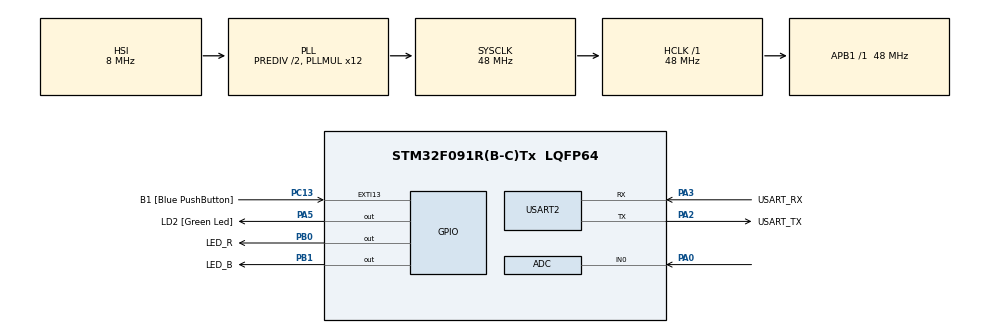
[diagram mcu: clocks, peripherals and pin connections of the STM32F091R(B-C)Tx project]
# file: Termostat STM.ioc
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Mcu.Family=STM32F0
Mcu.Name=STM32F091R(B-C)Tx
Mcu.Package=LQFP64
PA0.Mode=IN0
PA0.Signal=ADC_IN0
PA13.GPIO_Label=TMS
PA13.Mode=Serial_Wire
PA13.Signal=SYS_SWDIO
PA14.GPIO_Label=TCK
PA14.Mode=Serial_Wire
PA14.Signal=SYS_SWCLK
PA2.GPIO_Label=USART_TX
PA2.GPIO_Mode=GPIO_MODE_AF_PP
PA2.GPIO_PuPd=GPIO_NOPULL
PA2.GPIO_Speed=GPIO_SPEED_FREQ_LOW
PA2.Mode=Asynchronous
PA2.Signal=USART2_TX
PA3.GPIO_Label=USART_RX
PA3.GPIO_Mode=GPIO_MODE_AF_PP
PA3.GPIO_PuPd=GPIO_NOPULL
PA3.GPIO_Speed=GPIO_SPEED_FREQ_LOW
PA3.Mode=Asynchronous
PA3.Signal=USART2_RX
PA5.GPIO_Label=LD2 [Green Led]
PA5.GPIO_Mode=GPIO_MODE_OUTPUT_PP
PA5.GPIO_PuPd=GPIO_NOPULL
PA5.GPIO_Speed=GPIO_SPEED_FREQ_LOW
PA5.Signal=GPIO_Output
PB0.GPIO_Label=LED_R
PB0.Signal=GPIO_Output
PB1.GPIO_Label=LED_B
PB1.Signal=GPIO_Output
PC13.GPIO_Label=B1 [Blue PushButton]
PC13.GPIO_ModeDefaultEXTI=GPIO_MODE_IT_FALLING
PC13.Signal=GPXTI13
PC14OSC32_IN.Mode=LSE-External-Oscillator
PC14OSC32_IN.Signal=RCC_OSC32_IN
PC15OSC32_OUT.Mode=LSE-External-Oscillator
PC15OSC32_OUT.Signal=RCC_OSC32_OUT
PF0-OSC_IN.Mode=HSE-External-Clock-Source
PF0-OSC_IN.Signal=RCC_OSC_IN
PF1-OSC_OUT.Signal=RCC_OSC_OUT
ProjectManager.HeapSize=0x200
ProjectManager.StackSize=0x400
ProjectManager.TargetToolchain=STM32CubeIDE
RCC.AHBFreq_Value=48000000
RCC.APB1Freq_Value=48000000
RCC.APB1TimFreq_Value=48000000
RCC.FLatency-AdvancedSettings=FLASH_LATENCY_1
RCC.HCLKFreq_Value=48000000
RCC.PLLDivider=RCC_PREDIV_DIV2
RCC.PLLMUL=RCC_PLL_MUL12
RCC.PREFETCH_ENABLE-AdvancedSettings=1
RCC.SYSCLKFreq_VALUE=48000000
RCC.SYSCLKSource=RCC_SYSCLKSOURCE_PLLCLK
USART2.VirtualMode=VM_ASYNC
USART2.VirtualMode-Asynchronous=VM_ASYNC
board=NUCLEO-F091RC

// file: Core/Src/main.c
/* USER CODE BEGIN Header */
/**
  ******************************************************************************
  * @file           : main.c
  * @brief          : Main program body
  ******************************************************************************
  * @attention
  *
  * Copyright (c) 2024 STMicroelectronics.
  * All rights reserved.
  *
  * This software is licensed under terms that can be found in the LICENSE file
  * in the root directory of this software component.
  * If no LICENSE file comes with this software, it is provided AS-IS.
  *
  ******************************************************************************
  */
/* USER CODE END Header */
#include "main.h"

/* USER CODE BEGIN Includes */

#include <stdio.h>
#include <string.h>

/* USER CODE END Includes */

ADC_HandleTypeDef hadc;

UART_HandleTypeDef huart2;

/* USER CODE BEGIN PV */

uint16_t temperature = 0;
uint16_t addTemperature = 0;
char message[20];

/* USER CODE END PV */

void SystemClock_Config(void);
static void MX_GPIO_Init(void);
static void MX_USART2_UART_Init(void);
static void MX_ADC_Init(void);

int main(void)
{

  /* MCU Configuration--------------------------------------------------------*/

  /* Reset of all peripherals, Initializes the Flash interface and the Systick. */
  HAL_Init();

  /* Configure the system clock */
  SystemClock_Config();

  /* Initialize all configured peripherals */
  MX_GPIO_Init();
  MX_USART2_UART_Init();
  MX_ADC_Init();

  /* Infinite loop */
  while (1)
  {

    /* USER CODE BEGIN 3 */

	  HAL_ADC_Start(&hadc);
	  HAL_ADC_PollForConversion(&hadc, 20);
	  temperature = HAL_ADC_GetValue(&hadc);

	  if(HAL_GPIO_ReadPin(GPIOC, GPIO_PIN_13) == GPIO_PIN_RESET){
		  addTemperature += 100;
	  }

	  temperature += addTemperature;

	  sprintf(message,"Temperature: %hu \r\n", temperature);

	  HAL_UART_Transmit(&huart2, (uint8_t*)message, strlen(message), HAL_MAX_DELAY);
	  HAL_Delay(100);

	  if(temperature <= 2000){
		  HAL_GPIO_WritePin(GPIOB, GPIO_PIN_0, GPIO_PIN_RESET);
		  HAL_GPIO_WritePin(GPIOB, GPIO_PIN_1, GPIO_PIN_SET);
	  }
	  else {
		  HAL_GPIO_WritePin(GPIOB, GPIO_PIN_0, GPIO_PIN_SET);
		  HAL_GPIO_WritePin(GPIOB, GPIO_PIN_1, GPIO_PIN_RESET);
	  }

  }
  /* USER CODE END 3 */
}

void SystemClock_Config(void)
{
  RCC_OscInitTypeDef RCC_OscInitStruct = {0};
  RCC_ClkInitTypeDef RCC_ClkInitStruct = {0};
  RCC_PeriphCLKInitTypeDef PeriphClkInit = {0};

  /** Initializes the RCC Oscillators according to the specified parameters
  * in the RCC_OscInitTypeDef structure.
  */
  RCC_OscInitStruct.OscillatorType = RCC_OSCILLATORTYPE_HSI|RCC_OSCILLATORTYPE_HSI14;
  RCC_OscInitStruct.HSIState = RCC_HSI_ON;
  RCC_OscInitStruct.HSI14State = RCC_HSI14_ON;
  RCC_OscInitStruct.HSICalibrationValue = RCC_HSICALIBRATION_DEFAULT;
  RCC_OscInitStruct.HSI14CalibrationValue = 16;
  RCC_OscInitStruct.PLL.PLLState = RCC_PLL_ON;
  RCC_OscInitStruct.PLL.PLLSource = RCC_PLLSOURCE_HSI;
  RCC_OscInitStruct.PLL.PLLMUL = RCC_PLL_MUL12;
  RCC_OscInitStruct.PLL.PREDIV = RCC_PREDIV_DIV2;
  if (HAL_RCC_OscConfig(&RCC_OscInitStruct) != HAL_OK)
  {
    Error_Handler();
  }

  /** Initializes the CPU, AHB and APB buses clocks
  */
  RCC_ClkInitStruct.ClockType = RCC_CLOCKTYPE_HCLK|RCC_CLOCKTYPE_SYSCLK
                              |RCC_CLOCKTYPE_PCLK1;
  RCC_ClkInitStruct.SYSCLKSource = RCC_SYSCLKSOURCE_PLLCLK;
  RCC_ClkInitStruct.AHBCLKDivider = RCC_SYSCLK_DIV1;
  RCC_ClkInitStruct.APB1CLKDivider = RCC_HCLK_DIV1;

  if (HAL_RCC_ClockConfig(&RCC_ClkInitStruct, FLASH_LATENCY_1) != HAL_OK)
  {
    Error_Handler();
  }
  PeriphClkInit.PeriphClockSelection = RCC_PERIPHCLK_USART2;
  PeriphClkInit.Usart2ClockSelection = RCC_USART2CLKSOURCE_PCLK1;
  if (HAL_RCCEx_PeriphCLKConfig(&PeriphClkInit) != HAL_OK)
  {
    Error_Handler();
  }
}

static void MX_ADC_Init(void)
{

  ADC_ChannelConfTypeDef sConfig = {0};

  /** Configure the global features of the ADC (Clock, Resolution, Data Alignment and number of conversion)
  */
  hadc.Instance = ADC1;
  hadc.Init.ClockPrescaler = ADC_CLOCK_ASYNC_DIV1;
  hadc.Init.Resolution = ADC_RESOLUTION_12B;
  hadc.Init.DataAlign = ADC_DATAALIGN_RIGHT;
  hadc.Init.ScanConvMode = ADC_SCAN_DIRECTION_FORWARD;
  hadc.Init.EOCSelection = ADC_EOC_SINGLE_CONV;
  hadc.Init.LowPowerAutoWait = DISABLE;
  hadc.Init.LowPowerAutoPowerOff = DISABLE;
  hadc.Init.ContinuousConvMode = DISABLE;
  hadc.Init.DiscontinuousConvMode = DISABLE;
  hadc.Init.ExternalTrigConv = ADC_SOFTWARE_START;
  hadc.Init.ExternalTrigConvEdge = ADC_EXTERNALTRIGCONVEDGE_NONE;
  hadc.Init.DMAContinuousRequests = DISABLE;
  hadc.Init.Overrun = ADC_OVR_DATA_PRESERVED;
  if (HAL_ADC_Init(&hadc) != HAL_OK)
  {
    Error_Handler();
  }

  /** Configure for the selected ADC regular channel to be converted.
  */
  sConfig.Channel = ADC_CHANNEL_1;
  sConfig.Rank = ADC_RANK_CHANNEL_NUMBER;
  sConfig.SamplingTime = ADC_SAMPLETIME_28CYCLES_5;
  if (HAL_ADC_ConfigChannel(&hadc, &sConfig) != HAL_OK)
  {
    Error_Handler();
  }

}

static void MX_USART2_UART_Init(void)
{

  huart2.Instance = USART2;
  huart2.Init.BaudRate = 115200;
  huart2.Init.WordLength = UART_WORDLENGTH_8B;
  huart2.Init.StopBits = UART_STOPBITS_1;
  huart2.Init.Parity = UART_PARITY_NONE;
  huart2.Init.Mode = UART_MODE_TX_RX;
  huart2.Init.HwFlowCtl = UART_HWCONTROL_NONE;
  huart2.Init.OverSampling = UART_OVERSAMPLING_16;
  huart2.Init.OneBitSampling = UART_ONE_BIT_SAMPLE_DISABLE;
  huart2.AdvancedInit.AdvFeatureInit = UART_ADVFEATURE_NO_INIT;
  if (HAL_UART_Init(&huart2) != HAL_OK)
  {
    Error_Handler();
  }

}

static void MX_GPIO_Init(void)
{
  GPIO_InitTypeDef GPIO_InitStruct = {0};

  /* GPIO Ports Clock Enable */
  __HAL_RCC_GPIOC_CLK_ENABLE();
  __HAL_RCC_GPIOF_CLK_ENABLE();
  __HAL_RCC_GPIOA_CLK_ENABLE();
  __HAL_RCC_GPIOB_CLK_ENABLE();

  /*Configure GPIO pin Output Level */
  HAL_GPIO_WritePin(LD2_GPIO_Port, LD2_Pin, GPIO_PIN_RESET);

  /*Configure GPIO pin Output Level */
  HAL_GPIO_WritePin(GPIOB, LED_R_Pin|LED_B_Pin, GPIO_PIN_RESET);

  /*Configure GPIO pin : B1_Pin */
  GPIO_InitStruct.Pin = B1_Pin;
  GPIO_InitStruct.Mode = GPIO_MODE_IT_FALLING;
  GPIO_InitStruct.Pull = GPIO_NOPULL;
  HAL_GPIO_Init(B1_GPIO_Port, &GPIO_InitStruct);

  /*Configure GPIO pin : LD2_Pin */
  GPIO_InitStruct.Pin = LD2_Pin;
  GPIO_InitStruct.Mode = GPIO_MODE_OUTPUT_PP;
  GPIO_InitStruct.Pull = GPIO_NOPULL;
  GPIO_InitStruct.Speed = GPIO_SPEED_FREQ_LOW;
  HAL_GPIO_Init(LD2_GPIO_Port, &GPIO_InitStruct);

  /*Configure GPIO pins : LED_R_Pin LED_B_Pin */
  GPIO_InitStruct.Pin = LED_R_Pin|LED_B_Pin;
  GPIO_InitStruct.Mode = GPIO_MODE_OUTPUT_PP;
  GPIO_InitStruct.Pull = GPIO_NOPULL;
  GPIO_InitStruct.Speed = GPIO_SPEED_FREQ_LOW;
  HAL_GPIO_Init(GPIOB, &GPIO_InitStruct);

}

void Error_Handler(void)
{
  __disable_irq();
  while (1)
  {
  }
}
